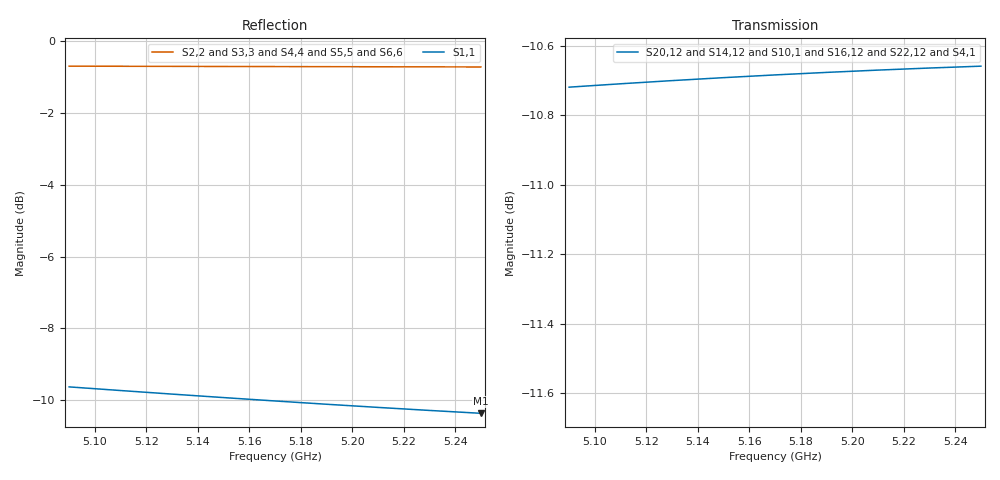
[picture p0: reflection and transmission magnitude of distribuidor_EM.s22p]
! Touchstone file exported from HFSS 2024.2.0
!  File:  D:/dev/EMBRAER/P1H/Divisor_10X_PTFE/Divisor_2x10_PTFE.aedt
!  Generated:  01:41:12 PM Nov  6, 2026
!  Design:  Duplo_radial
!  Project:  Divisor_2x10_PTFE
!  Setup:  Divisor
!  Solution:  Banda
# GHz S RI R 50.000000
! Terminal data exported
! Port[1] = A_IN
! Port[2] = A1
! Port[3] = A2
! Port[4] = A3
! Port[5] = A4
! Port[6] = A5
! Port[7] = A6
! Port[8] = A7
! Port[9] = A8
! Port[10] = A9
! Port[11] = A10
! Port[12] = B_IN
! Port[13] = B1
! Port[14] = B2
! Port[15] = B3
! Port[16] = B4
! Port[17] = B5
! Port[18] = B6
! Port[19] = B7
! Port[20] = B8
! Port[21] = B9
! Port[22] = B10
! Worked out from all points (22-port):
!   9 points, 5.09 GHz to 5.25 GHz, reference 50 ohm
!   strongest paths, dB at 5.09 GHz, 5.13 GHz, 5.17 GHz, 5.21 GHz, 5.25 GHz:
!     S20,12: -10.7, -10.7, -10.7, -10.7, -10.7
!     S14,12: -10.7, -10.7, -10.7, -10.7, -10.7
!     S10,1: -10.7, -10.7, -10.7, -10.7, -10.7
!     S16,12: -10.7, -10.7, -10.7, -10.7, -10.7
!     S22,12: -10.7, -10.7, -10.7, -10.7, -10.7
!     S4,1: -10.7, -10.7, -10.7, -10.7, -10.7
!   lowest |S11| = -10.4 dB at 5.25 GHz (marker M1), VSWR 1.87, Z = 70.2 - j31.8 ohm
!   |S11| at or under -10 dB: 5.1648 GHz to end of sweep
